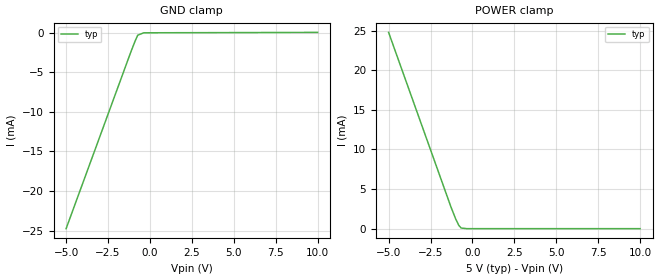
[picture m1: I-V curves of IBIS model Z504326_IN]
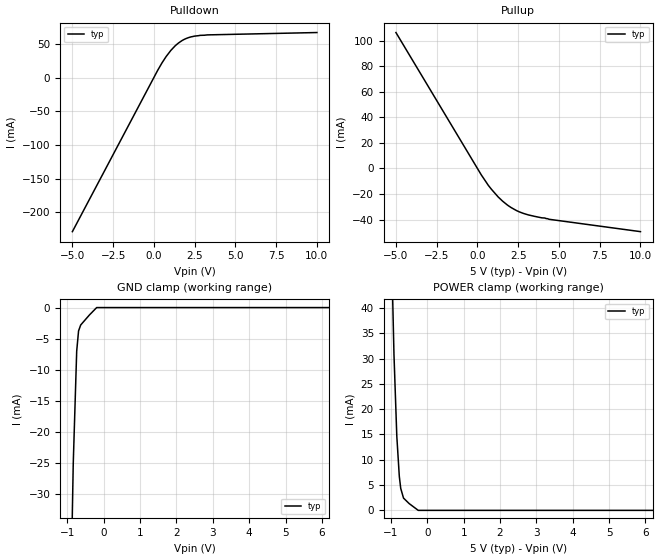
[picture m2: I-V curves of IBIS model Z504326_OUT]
| YOU ARE ONLY AUTHORIZED TO USE THIS SOFTWARE
| ACCORDING TO LICENSOR'S LICENSE RESTRICTIONS.
[IBIS Ver] 3.1
[File Name] mc54hcu04j.ibs
[File Rev] 2.0
[Source] Measured and created by ICX Technology
[Date] Friday 7/14/00 9:08:12 AM
[Copyright]
| (C) COPYRIGHT 1993-2000
| MENTOR GRAPHICS CORPORATION
| ICX STANDARD LIBRARY, ICX PROJECT MODELING,
| ICX CUSTOM MODELING, ICX VENDOR MODEL
| ALL RIGHTS RESERVED.
| THE FOLLOWING ARE TRADEMARKS OR SERVICE MARKS OF
| MENTOR GRAPHICS CORPORATION:ICX (R), ICX STANDARD
| LIBRARY(R), ICX PROJECT MODELING(R), ICX CUSTOM
| MODELING(R), qualityIBIS(TM), MODELVIEWER(TM),
| AND MODELEDITOR(TM)
| ALL COPIES OF SOFTWARE, INCLUDING BUT NOT LIMITED TO
| ANY MODIFICATIONS, ENHANCEMENTS OR DERIVATIVE WORKS,
| MUST CONTAIN ALL MENTOR GRAPHICS CORPORATION'S
| NOTICES AND LEGENDS, INCLUDING THOSE EMBEDDED IN
| SOFTWARE AND THOSE AFFIXED TO SOFTWARE MEDIUM
| AND CONTAINER, AS RECEIVED FROM MENTOR GRAPHICS
| CORPORATION.
|  ZAP Model Builder 2.7
[Component] MC54HCU04J
[Manufacturer] OnSemiconductor
[Package]
| variable   typ   min   max
R_pkg  .21ohms NA NA
L_pkg  4.543nH NA NA
C_pkg  1.8pF NA NA
[Pin] signal_name  model_name  R_pin  L_pin C_pin
1 A Z504326_IN .22 6.757n 2.434p
2 Y Z504326_OUT .212 4.757n 1.941p
3 A Z504326_IN .204 3.257n 1.448p
4 Y Z504326_OUT .196 2.257n .955p
5 A Z504326_IN .204 3.257n 1.448p
6 Y Z504326_OUT .212 4.757n 1.941p
7 GROUND GND .22 6.757n 2.434p
8 Y Z504326_OUT .22 6.757n 2.434p
9 A Z504326_IN .212 4.757n 1.941p
10 Y Z504326_OUT .204 3.257n 1.448p
11 A Z504326_IN .196 2.257n .955p
12 Y Z504326_OUT .204 3.257n 1.448p
13 A Z504326_IN .212 4.757n 1.941p
14 VCC POWER .22 6.757n 2.434p
| Models and submodels in the file (2): Z504326_IN (Input), Z504326_OUT (Output)
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| (C) COPYRIGHT 1993-2000
| MENTOR GRAPHICS CORPORATION
| ICX STANDARD LIBRARY, ICX PROJECT MODELING,
| ICX CUSTOM MODELING, ICX VENDOR MODEL
| ALL RIGHTS RESERVED.
| THE FOLLOWING ARE TRADEMARKS OR SERVICE MARKS OF
| MENTOR GRAPHICS CORPORATION:ICX (R), ICX STANDARD
| LIBRARY(R), ICX PROJECT MODELING(R), ICX CUSTOM
| MODELING(R), qualityIBIS(TM), MODELVIEWER(TM),
| AND MODELEDITOR(TM)
| ALL COPIES OF SOFTWARE, INCLUDING BUT NOT LIMITED TO
| ANY MODIFICATIONS, ENHANCEMENTS OR DERIVATIVE WORKS,
| MUST CONTAIN ALL MENTOR GRAPHICS CORPORATION'S
| NOTICES AND LEGENDS, INCLUDING THOSE EMBEDDED IN
| SOFTWARE AND THOSE AFFIXED TO SOFTWARE MEDIUM
| AND CONTAINER, AS RECEIVED FROM MENTOR GRAPHICS
| CORPORATION.
| Model Application Version 1.89 2/18/99.
[Model] Z504326_IN
Model_type Input
Vinl = 1.000V
Vinh = 3.500V
C_comp 4.000pF NA NA
| variable typ   min   max
[Voltage Range] 5.000V NA NA
[GND Clamp Reference] 0.000V NA NA
[POWER Clamp Reference] 5.000V NA NA
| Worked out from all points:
|   GND clamp passes 1 mA (typ) near -0.87 V on its own axis
|   POWER clamp passes 1 mA (typ) near -0.95 V on its own axis
[GND Clamp]
-5V       -24.73mA   NA         NA
-1.126V   -2.376mA   NA         NA
-877.4mV  -1.033mA   NA         NA
-727.7mV  -332.4uA   NA         NA
-363.8mV  -32.06uA   NA         NA
10V       17.69uA    NA         NA
[POWER Clamp]
-5V       24.78mA    NA         NA
-1.284V   2.754mA    NA         NA
-1.001V   1.233mA    NA         NA
-810mV    402.8uA    NA         NA
-672mV    80.94uA    NA         NA
-336mV    0A         NA         NA
10V       0A         NA         NA
| (C) COPYRIGHT 1993-2000
| MENTOR GRAPHICS CORPORATION
| ICX STANDARD LIBRARY, ICX PROJECT MODELING,
| ICX CUSTOM MODELING, ICX VENDOR MODEL
| ALL RIGHTS RESERVED.
| THE FOLLOWING ARE TRADEMARKS OR SERVICE MARKS OF
| MENTOR GRAPHICS CORPORATION:ICX (R), ICX STANDARD
| LIBRARY(R), ICX PROJECT MODELING(R), ICX CUSTOM
| MODELING(R), qualityIBIS(TM), MODELVIEWER(TM),
| AND MODELEDITOR(TM)
| ALL COPIES OF SOFTWARE, INCLUDING BUT NOT LIMITED TO
| ANY MODIFICATIONS, ENHANCEMENTS OR DERIVATIVE WORKS,
| MUST CONTAIN ALL MENTOR GRAPHICS CORPORATION'S
| NOTICES AND LEGENDS, INCLUDING THOSE EMBEDDED IN
| SOFTWARE AND THOSE AFFIXED TO SOFTWARE MEDIUM
| AND CONTAINER, AS RECEIVED FROM MENTOR GRAPHICS
| CORPORATION.
| Model Application Version 1.89 2/18/99.
[Model] Z504326_OUT
Model_type Output
Vref=0.000V
Rref=500.0Mohms
Cref=50.00pF
Vmeas=2.500V
C_comp 8.000pF NA NA
| variable typ   min   max
[Voltage Range] 5.000V NA NA
[POWER Clamp Reference] 5.000V NA NA
[Pullup Reference] 5.000V NA NA
[Pulldown Reference] 0.000V NA NA
[GND Clamp Reference] 0.000V NA NA
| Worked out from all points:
|   slope of the pulldown table from 0 to 0.75 V, typ, clamps not added: 24.2 ohm
|   slope of the pullup table from 0 to 0.75 V, typ, clamps not added: 51.6 ohm
|   GND clamp passes 1 mA (typ) near -0.36 V on its own axis
|   POWER clamp passes 1 mA (typ) near -0.44 V on its own axis
[GND Clamp]
-5V       -1.608A    NA         NA
-1.171V   -130.7mA   NA         NA
-839.7mV  -25.15mA   NA         NA
-744.9mV  -7.023mA   NA         NA
-693.4mV  -3.759mA   NA         NA
-634.3mV  -2.803mA   NA         NA
-390.5mV  -1.167mA   NA         NA
-195.3mV  0A         NA         NA
10V       0A         NA         NA
[Pulldown]
-5V       -228.6mA   NA         NA
234.7mV   10.9mA     NA         NA
752mV     31.29mA    NA         NA
1.042V    40.42mA    NA         NA
1.507V    51.32mA    NA         NA
2.136V    59.45mA    NA         NA
2.834V    62.71mA    NA         NA
10V       66.9mA     NA         NA
[Pullup]
-5V       106.3mA    NA         NA
235mV     -5.058mA   NA         NA
861mV     -16.38mA   NA         NA
1.553V    -25.74mA   NA         NA
2.065V    -30.64mA   NA         NA
2.402V    -33.04mA   NA         NA
2.821V    -35.22mA   NA         NA
3.496V    -37.49mA   NA         NA
4.388V    -39.8mA    NA         NA
10V       -49.48mA   NA         NA
[POWER Clamp]
-5V       1.846A     NA         NA
-1.289V   162.2mA    NA         NA
-1.096V   86.14mA    NA         NA
-918mV    30.83mA    NA         NA
-840mV    14.68mA    NA         NA
-771mV    6.724mA    NA         NA
-732mV    4.344mA    NA         NA
-655mV    2.422mA    NA         NA
-500mV    1.34mA     NA         NA
-250mV    0A         NA         NA
10V       0A         NA         NA
[Ramp]
| variable typ min max
dV/dt_r 2.733/1.801n NA NA
dV/dt_f 2.733/1.501n NA NA
R_load = 500.0Ohms
